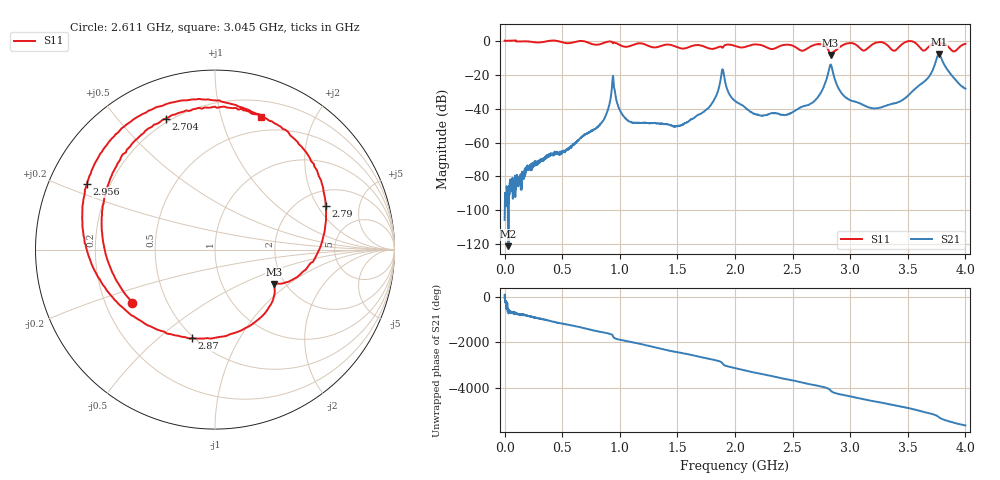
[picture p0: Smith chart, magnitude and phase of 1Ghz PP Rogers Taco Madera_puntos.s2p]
! NanoVNA-App
! Date: 2025-10-30 21:19:08
! Start: 10kHz Stop: 4GHz Points: 3201
! S-Parameter data: F S11 S21 S12 S22
# Hz S RI R 50
!  Frequency  S11_Real  S11_Imag  S21_Real  S21_Imag  S12_Real  S12_Imag  S22_Real  S22_Imag
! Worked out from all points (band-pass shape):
!   3201 points, 10 kHz to 4 GHz, reference 50 ohm
!   highest |S21| = -7.78 dB at 3.769 GHz (marker M1); lowest = -121.1 dB at 33.76 MHz (marker M2)
!   |S21| within 3 dB of the highest: 3.749 GHz to 3.793 GHz (44.16 MHz wide, 1.17 % of centre)
!   lowest |S11| = -8.4 dB at 2.83 GHz (marker M3), VSWR 2.23, Z = 87.7 - j39.2 ohm
!   |S11| at or under -10 dB: nowhere
!   S12 and S22 are empty: the file has one direction only
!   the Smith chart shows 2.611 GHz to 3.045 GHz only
!   S11 on the Smith chart (normalised r, x): 2.611 GHz: 0.32, -0.27; 2.704 GHz: 0.18, +0.68; 2.79 GHz: 2.70, +2.37; 2.87 GHz: 0.49, -0.65; 2.956 GHz: 0.12, +0.24; 3.045 GHz: 0.35, +1.35
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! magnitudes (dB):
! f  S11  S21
! 10 kHz  0.0  -105.6
! 33.76 MHz  0.0  -121.1
! 667.5 MHz  -0.1  -57.0
! 856.3 MHz  -1.4  -47.0
! 942.5 MHz  -1.4  -21.2
! 1.065 GHz  -3.5  -46.7
! 1.334 GHz  -3.6  -48.7
! 1.746 GHz  -3.8  -40.8
! 1.891 GHz  -4.1  -16.8
! 2 GHz  -3.0  -35.5
! 2.23 GHz  -2.6  -44.1
! 2.611 GHz  -5.2  -38.3
! 2.668 GHz  -3.0  -36.7
! 2.704 GHz  -2.2  -34.5
! 2.79 GHz  -3.6  -23.5
! 2.83 GHz  -8.4  -14.0
! 2.87 GHz  -5.8  -23.4
! 2.956 GHz  -1.9  -33.2
! 3.045 GHz  -2.1  -35.9
! 3.334 GHz  -3.3  -37.8
! 3.769 GHz  -2.6  -7.8
! 4 GHz  -1.8  -28.2
